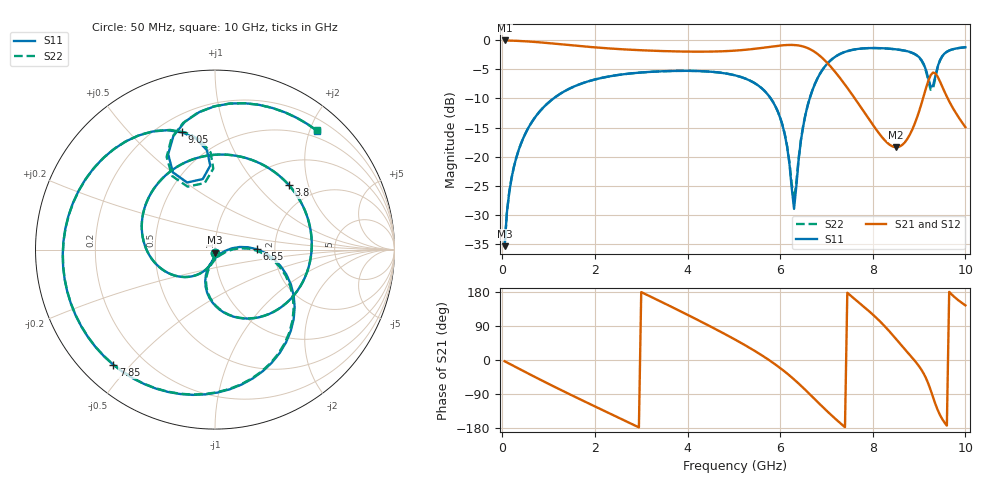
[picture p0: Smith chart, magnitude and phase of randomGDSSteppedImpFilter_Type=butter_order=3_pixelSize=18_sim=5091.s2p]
! freq	dB(S11)	phase(S11)	dB(S12)	phase(S12)
!  dB(S21)	phase(S21)	dB(S22)	phase(S22)
!S-par simulation data
#  GHz  S  DB  R 50
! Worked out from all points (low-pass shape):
!   200 points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, 50 MHz to 10 GHz, reference 50 ohm
!   highest |S21| = -0.01 dB at 50 MHz (marker M1); lowest = -18.4 dB at 8.5 GHz (marker M2)
!   |S21| within 3 dB of the highest: start of sweep to 6.908 GHz
!   lowest |S11| = -35.4 dB at 50 MHz (marker M3), VSWR 1.03, Z = 49.9 - j1.69 ohm
!   |S11| at or under -10 dB: start of sweep to 1.105 GHz; 5.797 GHz to 6.638 GHz (841.1 MHz wide, 13.5 % of centre)
!   |S22| runs from -35.4 to -1.2 dB; largest |S21 - S12| = 0
!   S11 on the Smith chart (normalised r, x): 50 MHz: 1.00, -0.03; 3.8 GHz: 1.47, +1.51; 6.55 GHz: 1.61, +0.01; 7.85 GHz: 0.09, -0.45; 9.05 GHz: 0.30, +0.72; 10 GHz: 0.38, +2.12
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0.05  -35.42 -90.9  -0.01 -3.3  -0.01 -3.3  -35.42 -90.9
0.2  -23.69 -102.5  -0.04 -12.9  -0.04 -12.9  -23.69 -102.5
0.5  -16.01 -122.3  -0.16 -31.9  -0.16 -31.9  -16.01 -122.3
1.1  -10.03 -159.8  -0.54 -69.1  -0.54 -69.1  -10.03 -159.8
1.75  -7.32 161.5  -1.03 -107.9  -1.03 -107.9  -7.32 161.5
2.6  -5.85 112.0  -1.54 -157.4  -1.54 -157.4  -5.85 112.0
3.4  -5.34 65.2  -1.82 155.5  -1.82 155.5  -5.34 65.2
3.8  -5.25 41.3  -1.91 131.5  -1.91 131.5  -5.25 41.4
5.05  -6.07 -36.6  -1.75 52.3  -1.75 52.3  -6.06 -36.4
5.95  -12.27 -100.4  -0.94 -16.6  -0.94 -16.6  -12.24 -99.3
6.3  -29.00 -52.1  -0.80 -51.2  -0.80 -51.2  -27.52 -52.6
6.55  -12.67 0.5  -1.19 -79.6  -1.19 -79.6  -12.63 -1.5
6.7  -8.51 -13.9  -1.76 -97.6  -1.76 -97.6  -8.50 -15.3
7  -4.17 -47.0  -3.73 -133.5  -3.73 -133.5  -4.17 -47.9
7.35  -2.13 -83.8  -7.08 -172.2  -7.08 -172.2  -2.14 -84.6
7.85  -1.35 -131.4  -12.76 136.2  -12.76 136.2  -1.35 -132.1
8.35  -1.42 -178.1  -17.87 76.9  -17.87 76.9  -1.43 -178.9
8.5  -1.54 167.1  -18.39 55.8  -18.39 55.8  -1.55 166.3
9.05  -3.37 105.6  -10.94 -25.6  -10.94 -25.6  -3.45 104.0
9.3  -7.85 112.6  -5.54 -97.7  -5.54 -97.7  -8.35 113.5
9.6  -1.95 90.1  -9.69 -173.2  -9.69 -173.2  -1.97 90.6
10  -1.18 49.4  -14.94 144.2  -14.94 144.2  -1.18 49.5
